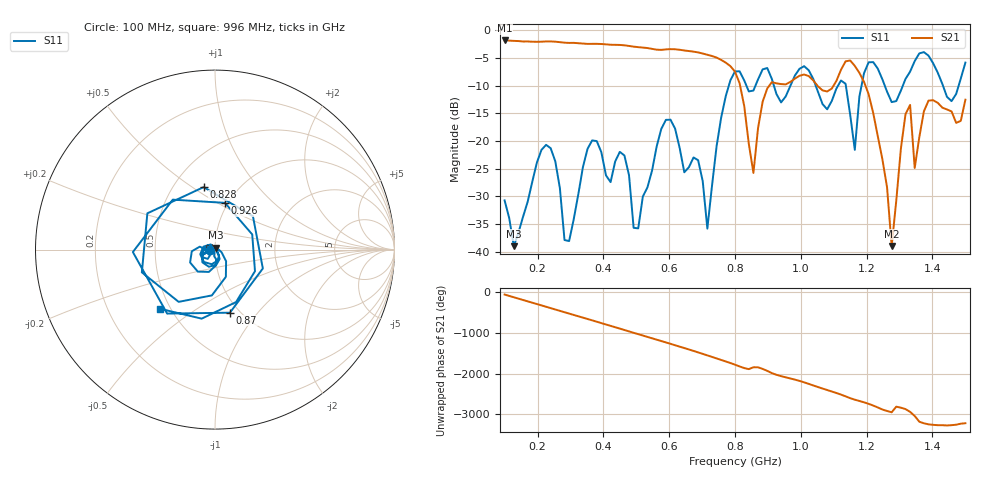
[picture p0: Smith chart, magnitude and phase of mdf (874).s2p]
! NanoVNA-App
! Date: 2025-09-25 15:45:13
! Start: 100MHz Stop: 1,5GHz Points: 101
! S-Parameter data: F S11 S21 S12 S22
# Hz S RI R 50
!  Frequency  S11_Real  S11_Imag  S21_Real  S21_Imag  S12_Real  S12_Imag  S22_Real  S22_Imag
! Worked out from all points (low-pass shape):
!   101 points, 100 MHz to 1.5 GHz, reference 50 ohm
!   highest |S21| = -1.80 dB at 100 MHz (marker M1); lowest = -39.0 dB at 1.276 GHz (marker M2)
!   |S21| within 3 dB of the highest: start of sweep to 739.3 MHz
!   lowest |S11| = -39.0 dB at 128 MHz (marker M3), VSWR 1.02, Z = 50.3 + j1.08 ohm
!   |S11| at or under -10 dB: start of sweep to 781.1 MHz; 918.3 MHz to 968.3 MHz (49.94 MHz wide, 5.29 % of centre); 1.045 GHz to 1.113 GHz (67.39 MHz wide, 6.24 % of centre) (the widest 3 of 7)
!   S12 and S22 are empty: the file has one direction only
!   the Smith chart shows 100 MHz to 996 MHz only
!   S11 on the Smith chart (normalised r, x): 100 MHz: 0.94, -0.01; 828 MHz: 0.70, +0.56; 870 MHz: 0.90, -0.73; 926 MHz: 0.97, +0.54; 996 MHz: 0.44, -0.36
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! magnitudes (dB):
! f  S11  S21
! 100 MHz  -30.7  -1.8
! 128 MHz  -39.0  -1.9
! 212 MHz  -21.6  -2.0
! 282 MHz  -37.9  -2.2
! 338 MHz  -24.7  -2.4
! 464 MHz  -22.6  -2.7
! 506 MHz  -35.8  -3.0
! 576 MHz  -17.8  -3.5
! 716 MHz  -35.8  -4.4
! 800 MHz  -7.4  -7.4
! 828 MHz  -9.0  -13.6
! 856 MHz  -10.9  -25.8
! 870 MHz  -8.8  -17.7
! 926 MHz  -11.5  -9.6
! 996 MHz  -6.9  -8.2
! 1.038 GHz  -8.8  -9.0
! 1.164 GHz  -21.6  -6.4
! 1.192 GHz  -7.7  -9.3
! 1.276 GHz  -12.9  -39.0
! 1.332 GHz  -7.4  -13.5
! 1.346 GHz  -5.5  -24.9
! 1.5 GHz  -5.8  -12.5
